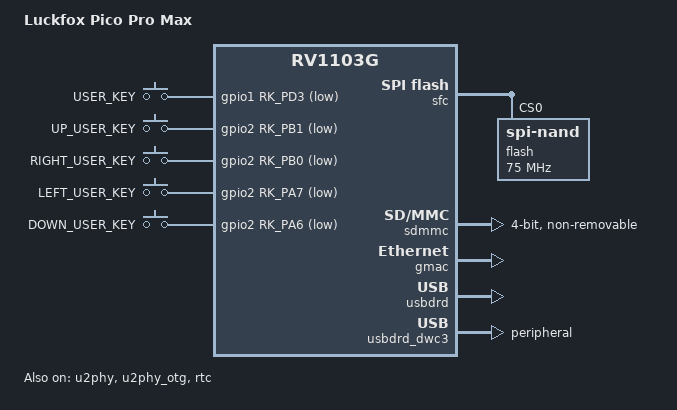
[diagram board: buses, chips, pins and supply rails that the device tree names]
// SPDX-License-Identifier: (GPL-2.0+ OR MIT)
/*
 * Copyright (c) 2022 Rockchip Electronics Co., Ltd.
 */

/dts-v1/;

#include "rv1106.dtsi"
#include "rv1106-evb.dtsi"
#include "rv1106-luckfox-pico-pro-max-ipc.dtsi"

/ {
	model = "Luckfox Pico Pro Max";
	compatible = "rockchip,rv1103g-38x38-ipc-v10", "rockchip,rv1106g3";

	gpio_keys: gpio-keys {
		compatible = "gpio-keys";
		pinctrl-names = "default";
		pinctrl-0 = <&gpio1_pd3
					 &gpio2_pb1
					 &gpio2_pb0
					 &gpio2_pa7
					 &gpio2_pa6>;

		key_user: key-user {
			label = "USER_KEY";
			linux,code = <KEY_ENTER>;
			gpios = <&gpio1 RK_PD3 GPIO_ACTIVE_LOW>;
			debounce-interval = <10>;
			wakeup-source;
		};
		key__user_up: key-user-up {
			label = "UP_USER_KEY";
			linux,code = <KEY_UP>;
			gpios = <&gpio2 RK_PB1 GPIO_ACTIVE_LOW>;
			debounce-interval = <10>;
			wakeup-source;
		};
		key_user_right: key-user-right {
			label = "RIGHT_USER_KEY";
			linux,code = <KEY_RIGHT>;
			gpios = <&gpio2 RK_PB0 GPIO_ACTIVE_LOW>;
			debounce-interval = <10>;
			wakeup-source;
		};
		key_user_left: key-user-left {
			label = "LEFT_USER_KEY";
			linux,code = <KEY_LEFT>;
			gpios = <&gpio2 RK_PA7 GPIO_ACTIVE_LOW>;
			debounce-interval = <10>;
			wakeup-source;
		};
		key_user_down: key-user-down {
			label = "DOWN_USER_KEY";
			linux,code = <KEY_DOWN>;
			gpios = <&gpio2 RK_PA6 GPIO_ACTIVE_LOW>;
			debounce-interval = <10>;
			wakeup-source;
		};
	};

};

/**********CRU**********/
//&cru {
//	assigned-clocks =
//		<&cru PLL_GPLL>, <&cru PLL_CPLL>,
//		<&cru ARMCLK>,
//		<&cru ACLK_PERI_ROOT>, <&cru HCLK_PERI_ROOT>,
//		<&cru PCLK_PERI_ROOT>, <&cru ACLK_BUS_ROOT>,
//		<&cru PCLK_TOP_ROOT>, <&cru PCLK_PMU_ROOT>,
//		<&cru HCLK_PMU_ROOT>, <&cru CLK_500M_SRC>;
//	assigned-clock-rates =
//		<1188000000>, <700000000>,
//		<1104000000>,
//		<400000000>, <200000000>,
//		<100000000>, <300000000>,
//		<100000000>, <100000000>,
//		<200000000>, <700000000>;
//};

/**********NPU**********/
//&npu {
//	assigned-clock-rates = <700000000>;
//};

/**********FLASH**********/
&sfc {
	status = "okay";
	flash@0 {
		compatible = "spi-nand";
		reg = <0>;
		spi-max-frequency = <75000000>;
		spi-rx-bus-width = <4>;
		spi-tx-bus-width = <1>;
	};
};

/**********SDMMC**********/
&sdmmc {
	max-freqency = <50000000>;
	no-mmc;
	bus-width = <4>;
	cap-mmc-highspeed;
	cap-sd-highspeed;
	disable-wp;

	//sdio
	cap-sdio-irq;
	non-removable;
	no-1-8-v;
	supports-sdio;

	pinctrl-names = "default";
	pinctrl-0 = <&sdmmc0_clk &sdmmc0_cmd &sdmmc0_det &sdmmc0_bus4>;
	status = "okay";
};

/**********ETH**********/
&gmac {
	status = "okay";
};

/**********USB**********/
&u2phy {
	status = "okay";
};

&u2phy_otg {
	rockchip,dis-u2-susphy;
	status = "okay";
};

&usbdrd {
	status = "okay";
};

&usbdrd_dwc3 {
	status = "okay";
	dr_mode = "peripheral";
};

/**********SPI**********/
&spi0 {
	status = "disabled";
	spidev@0 {
		spi-max-frequency = <50000000>;
	};
	fbtft@0 {
		spi-max-frequency = <50000000>;
	};
};

/**********I2C**********/
/* I2C3_M1 */
&i2c3 {
	status = "disabled";
	clock-frequency = <100000>;
};

/* I2C1_M1 */
&i2c1 {
	status = "disabled";
	clock-frequency = <100000>;
};


/**********UART**********/
/* UART3_M1 */
&uart3 {
	status = "disabled";
};

/* UART4_M1 */
&uart4 {
	status = "disabled";
};

/**********RTC**********/
&rtc {
	status = "okay";
};

/**********GPIO*********/
&pinctrl {
    gpio1-pd3 {
        gpio1_pd3: gpio1-pd3 {
            rockchip,pins = <1 RK_PD3 RK_FUNC_GPIO &pcfg_pull_up>;
        };
    };
	gpio2-pb1 {
        gpio2_pb1: gpio2-pb1 {
            rockchip,pins = <2 RK_PB1 RK_FUNC_GPIO &pcfg_pull_up>;
        };
    };
	gpio2-pb0 {
        gpio2_pb0: gpio2-pb0 {
            rockchip,pins = <2 RK_PB0 RK_FUNC_GPIO &pcfg_pull_up>;
        };
    };
	gpio2-pa7 {
        gpio2_pa7: gpio2-pa7 {
            rockchip,pins = <2 RK_PA7 RK_FUNC_GPIO &pcfg_pull_up>;
        };
    };
	gpio2-pa6 {
        gpio2_pa6: gpio2-pa6 {
            rockchip,pins = <2 RK_PA6 RK_FUNC_GPIO &pcfg_pull_up>;
        };
    };
};
